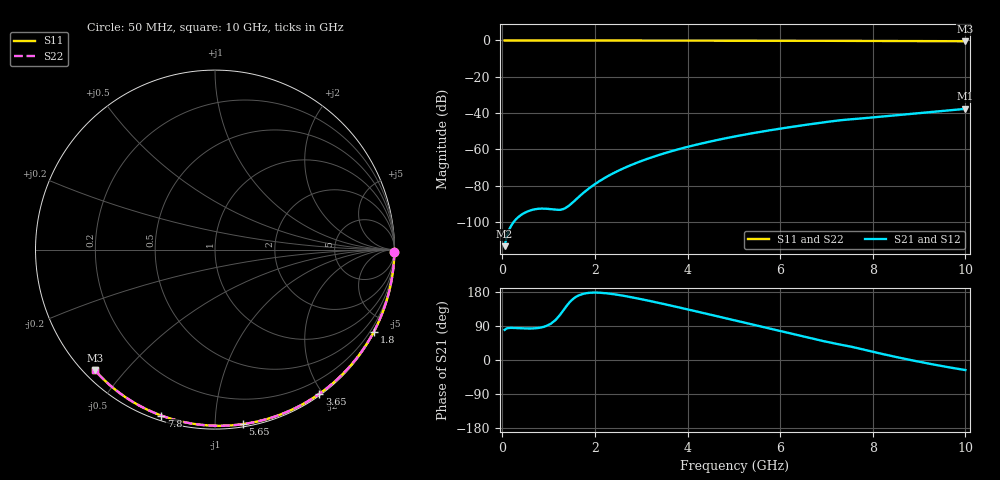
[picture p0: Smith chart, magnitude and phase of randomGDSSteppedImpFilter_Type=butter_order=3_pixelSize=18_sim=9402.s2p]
! freq	dB(S11)	phase(S11)	dB(S12)	phase(S12)
!  dB(S21)	phase(S21)	dB(S22)	phase(S22)
!S-par simulation data
#  GHz  S  DB  R 50
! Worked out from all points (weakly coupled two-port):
!   200 points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, 50 MHz to 10 GHz, reference 50 ohm
!   highest |S21| = -37.64 dB at 10 GHz (marker M1); lowest = -113.2 dB at 50 MHz (marker M2)
!   lowest |S11| = -0.5 dB at 10 GHz (marker M3), VSWR 37.78, Z = 1.55 - j20.8 ohm
!   |S11| at or under -10 dB: nowhere
!   |S22| runs from -0.5 to 0.0 dB; largest |S21 - S12| = 0
!   S11 on the Smith chart (normalised r, x): 50 MHz: open; 1.8 GHz: 0.04, -4.12; 3.65 GHz: 0.02, -1.96; 5.65 GHz: 0.02, -1.17; 7.8 GHz: 0.02, -0.73; 10 GHz: 0.03, -0.42
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0.05  -0.00 -0.7  -113.24 79.6  -113.24 79.6  -0.00 -0.7
0.5  -0.01 -7.7  -94.65 83.3  -94.65 83.3  -0.01 -7.7
0.9  -0.02 -13.7  -92.58 87.8  -92.58 87.8  -0.02 -13.8
1.75  -0.03 -26.5  -83.94 174.6  -83.94 174.6  -0.03 -26.5
1.8  -0.03 -27.3  -82.88 176.0  -82.88 176.0  -0.03 -27.3
1.95  -0.04 -29.5  -79.97 177.8  -79.97 177.8  -0.04 -29.5
2.1  -0.04 -31.7  -77.41 177.6  -77.41 177.6  -0.04 -31.7
2.25  -0.04 -33.9  -75.11 176.0  -75.11 176.0  -0.04 -33.9
2.55  -0.05 -38.3  -71.17 170.9  -71.17 170.9  -0.05 -38.3
2.95  -0.06 -44.1  -66.87 161.8  -66.87 161.8  -0.06 -44.1
3.4  -0.07 -50.5  -62.90 150.1  -62.90 150.1  -0.07 -50.5
3.65  -0.07 -54.1  -61.00 143.3  -61.00 143.3  -0.07 -54.1
4.3  -0.09 -63.1  -56.73 125.2  -56.73 125.2  -0.09 -63.1
5.05  -0.11 -73.2  -52.71 103.8  -52.71 103.8  -0.11 -73.2
5.65  -0.13 -81.0  -49.98 86.5  -49.98 86.5  -0.13 -81.0
6.15  -0.15 -87.5  -47.96 72.0  -47.96 72.0  -0.15 -87.5
6.7  -0.18 -94.4  -45.93 56.3  -45.93 56.3  -0.18 -94.4
7.3  -0.22 -101.8  -43.93 40.7  -43.93 40.7  -0.22 -101.8
7.8  -0.25 -107.9  -42.83 27.5  -42.83 27.5  -0.25 -107.9
8.35  -0.29 -114.5  -41.51 12.0  -41.51 12.0  -0.29 -114.5
9.2  -0.37 -124.8  -39.52 -9.3  -39.52 -9.3  -0.37 -124.8
10  -0.46 -134.8  -37.64 -26.6  -37.64 -26.6  -0.46 -134.8
